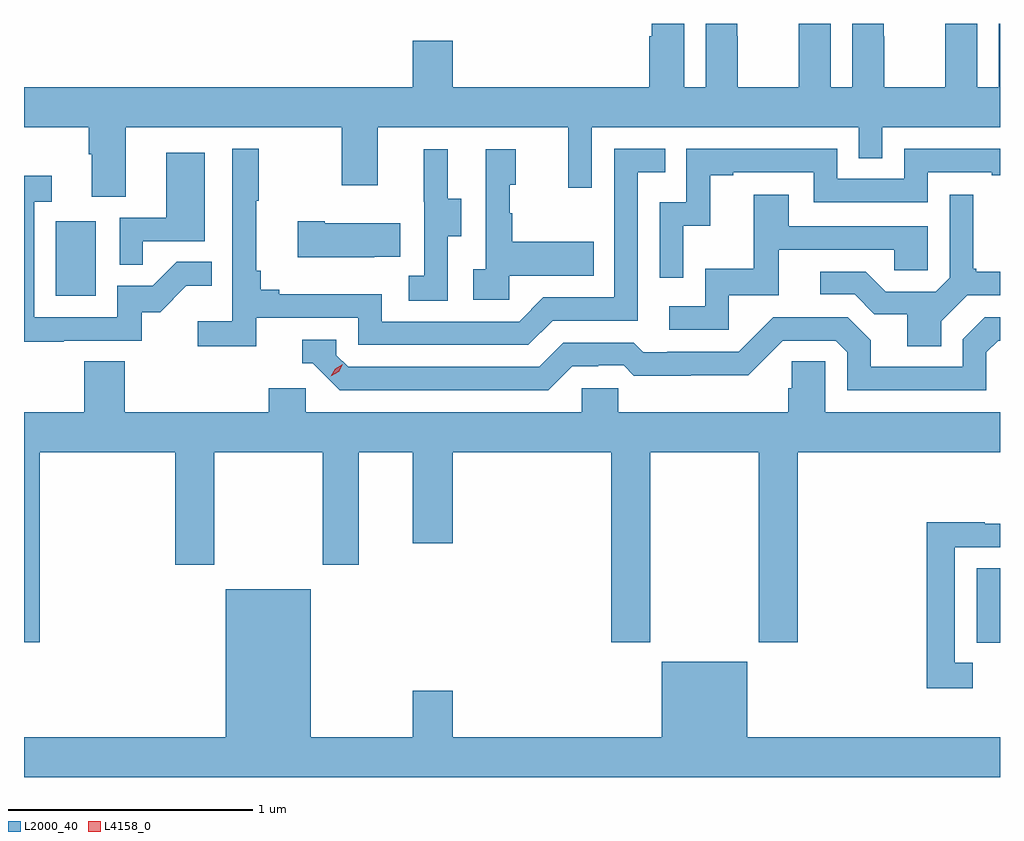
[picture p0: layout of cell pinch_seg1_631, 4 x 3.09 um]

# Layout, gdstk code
import gdstk
lib = gdstk.Library(unit=1e-6, precision=1e-09)
def R(c, l, rs):  # rectangles x0, y0, x1, y1
    for r in rs: c.add(gdstk.rectangle(r[:2], r[2:], *l))
def P(c, l, *ps):  # polygons
    for p in ps: c.add(gdstk.Polygon(p, *l))
L2000_40 = (2000, 40)
L4158_0 = (4158, 0)

pinch_seg1_631 = lib.new_cell('pinch_seg1_631')
R(pinch_seg1_631, L2000_40, [(1090.394,518.982,1090.49,519.289), (1086.62,520.404,1086.784,520.711)])
P(pinch_seg1_631, L2000_40, [(1086.907,521.096),(1087.792,521.096),(1087.792,520.857),(1087.939,520.857),(1087.939,521.096),(1088.72,521.096),(1088.72,520.847),(1088.817,520.847),(1088.817,521.096),(1089.912,521.096),(1089.912,520.969),(1090.008,520.969),(1090.008,521.096),(1090.49,521.096),(1090.49,521.519),(1090.484,521.519),(1090.484,521.26),(1090.396,521.26),(1090.396,521.519),(1090.266,521.519),(1090.266,521.468),(1090.265,521.468),(1090.265,521.26),(1090.015,521.26),(1090.015,521.468),(1090.014,521.468),(1090.014,521.519),(1089.884,521.519),(1089.884,521.26),(1089.796,521.26),(1089.796,521.519),(1089.666,521.519),(1089.666,521.468),(1089.665,521.468),(1089.665,521.26),(1089.415,521.26),(1089.415,521.468),(1089.414,521.468),(1089.414,521.519),(1089.284,521.519),(1089.284,521.26),(1089.196,521.26),(1089.196,521.519),(1089.062,521.519),(1089.062,521.468),(1089.053,521.468),(1089.053,521.26),(1088.248,521.26),(1088.248,521.449),(1088.084,521.449),(1088.084,521.26),(1086.49,521.26),(1086.49,521.096),(1086.755,521.096),(1086.755,520.984),(1086.767,520.984),(1086.767,520.81),(1086.907,520.81)],
  [(1087.442,520.314),(1087.86,520.314),(1087.86,520.203),(1088.557,520.203),(1088.656,520.302),(1089.006,520.302),(1089.006,520.911),(1089.119,520.911),(1089.119,521.007),(1088.91,521.007),(1088.91,520.398),(1088.619,520.398),(1088.52,520.299),(1087.956,520.299),(1087.956,520.411),(1087.537,520.411),(1087.537,520.43),(1087.46,520.43),(1087.46,520.507),(1087.441,520.507),(1087.441,520.795),(1087.453,520.795),(1087.453,521.008),(1087.344,521.008),(1087.344,520.3),(1087.203,520.3),(1087.203,520.198),(1087.442,520.198)],
  [(1089.192,520.691),(1089.302,520.691),(1089.302,520.899),(1089.397,520.899),(1089.397,520.911),(1089.726,520.911),(1089.726,520.788),(1090.194,520.788),(1090.194,520.911),(1090.457,520.911),(1090.457,520.899),(1090.49,520.899),(1090.49,521.007),(1090.098,521.007),(1090.098,520.884),(1089.822,520.884),(1089.822,521.007),(1089.204,521.007),(1089.204,520.788),(1089.096,520.788),(1089.096,520.479),(1089.192,520.479)],
  [(1088.478,520.487),(1088.825,520.487),(1088.825,520.627),(1088.491,520.627),(1088.491,520.742),(1088.481,520.742),(1088.481,520.86),(1088.506,520.86),(1088.506,521.005),(1088.382,521.005),(1088.382,520.514),(1088.331,520.514),(1088.331,520.389),(1088.478,520.389)],
  [(1088.226,520.648),(1088.281,520.648),(1088.281,520.803),(1088.227,520.803),(1088.227,521.005),(1088.129,521.005),(1088.129,520.791),(1088.13,520.791),(1088.13,520.487),(1088.067,520.487),(1088.067,520.384),(1088.226,520.384)],
  [(1086.977,520.629),(1087.231,520.629),(1087.231,520.99),(1087.073,520.99),(1087.073,520.725),(1086.882,520.725),(1086.882,520.531),(1086.977,520.531)],
  [(1086.653,520.221),(1086.972,520.221),(1086.972,520.338),(1087.048,520.338),(1087.155,520.445),(1087.259,520.445),(1087.259,520.544),(1087.115,520.544),(1087.017,520.446),(1086.873,520.446),(1086.873,520.317),(1086.531,520.317),(1086.531,520.791),(1086.604,520.791),(1086.604,520.897),(1086.49,520.897),(1086.49,520.216),(1086.653,520.216)],
  [(1089.378,520.407),(1089.583,520.407),(1089.583,520.593),(1090.057,520.593),(1090.057,520.509),(1090.194,520.509),(1090.194,520.689),(1089.625,520.689),(1089.625,520.819),(1089.481,520.819),(1089.481,520.516),(1089.282,520.516),(1089.282,520.362),(1089.135,520.362),(1089.135,520.266),(1089.378,520.266)],
  [(1090.249,520.3),(1090.356,520.407),(1090.49,520.407),(1090.49,520.504),(1090.393,520.504),(1090.393,520.516),(1090.381,520.516),(1090.381,520.819),(1090.284,520.819),(1090.284,520.479),(1090.227,520.422),(1090.021,520.422),(1089.94,520.503),(1089.753,520.503),(1089.753,520.41),(1089.894,520.41),(1089.974,520.33),(1090.109,520.33),(1090.109,520.198),(1090.249,520.198)],
  [(1087.925,520.565),(1088.033,520.565),(1088.033,520.702),(1087.723,520.702),(1087.723,520.71),(1087.611,520.71),(1087.611,520.562),(1087.925,520.562)],
  [(1088.737,520.116),(1088.844,520.116),(1088.844,520.119),(1088.947,520.119),(1088.989,520.077),(1089.222,520.077),(1089.222,520.079),(1089.458,520.079),(1089.6,520.221),(1089.816,520.221),(1089.864,520.173),(1089.864,520.017),(1090.434,520.017),(1090.434,520.173),(1090.482,520.221),(1090.49,520.221),(1090.49,520.317),(1090.428,520.317),(1090.338,520.227),(1090.338,520.113),(1089.961,520.113),(1089.961,520.223),(1089.867,520.317),(1089.561,520.317),(1089.42,520.176),(1089.127,520.176),(1089.127,520.173),(1089.028,520.173),(1088.989,520.212),(1088.7,520.212),(1088.601,520.113),(1087.818,520.113),(1087.77,520.161),(1087.77,520.224),(1087.631,520.224),(1087.631,520.128),(1087.674,520.128),(1087.785,520.017),(1088.638,520.017)],
  [(1087.644,520.026),(1087.493,520.026),(1087.493,519.928),(1086.902,519.928),(1086.902,520.136),(1086.737,520.136),(1086.737,519.928),(1086.49,519.928),(1086.49,518.985),(1086.554,518.985),(1086.554,519.764),(1087.109,519.764),(1087.109,519.303),(1087.269,519.303),(1087.269,519.764),(1087.714,519.764),(1087.714,519.303),(1087.861,519.303),(1087.861,519.764),(1088.084,519.764),(1088.084,519.39),(1088.248,519.39),(1088.248,519.764),(1088.897,519.764),(1088.897,518.985),(1089.057,518.985),(1089.057,519.764),(1089.502,519.764),(1089.502,518.985),(1089.662,518.985),(1089.662,519.764),(1090.49,519.764),(1090.49,519.928),(1089.774,519.928),(1089.774,520.136),(1089.637,520.136),(1089.637,520.026),(1089.623,520.026),(1089.623,519.928),(1088.925,519.928),(1088.925,520.026),(1088.775,520.026),(1088.775,519.928),(1087.644,519.928)],
  [(1090.378,518.901),(1090.305,518.901),(1090.305,519.375),(1090.49,519.375),(1090.49,519.471),(1090.427,519.471),(1090.427,519.476),(1090.189,519.476),(1090.189,518.796),(1090.378,518.796)],
  [(1090.49,518.596),(1089.454,518.596),(1089.454,518.905),(1089.104,518.905),(1089.104,518.596),(1088.248,518.596),(1088.248,518.785),(1088.084,518.785),(1088.084,518.596),(1087.666,518.596),(1087.666,519.202),(1087.316,519.202),(1087.316,518.596),(1086.49,518.596),(1086.49,518.432),(1090.49,518.432)])
P(pinch_seg1_631, L4158_0, [(1087.748,520.074),(1087.748,520.074),(1087.765,520.106),(1087.796,520.125),(1087.796,520.125),(1087.796,520.125),(1087.779,520.093),(1087.748,520.074)])

lib.write_gds('pinch_seg1_631.gds')
